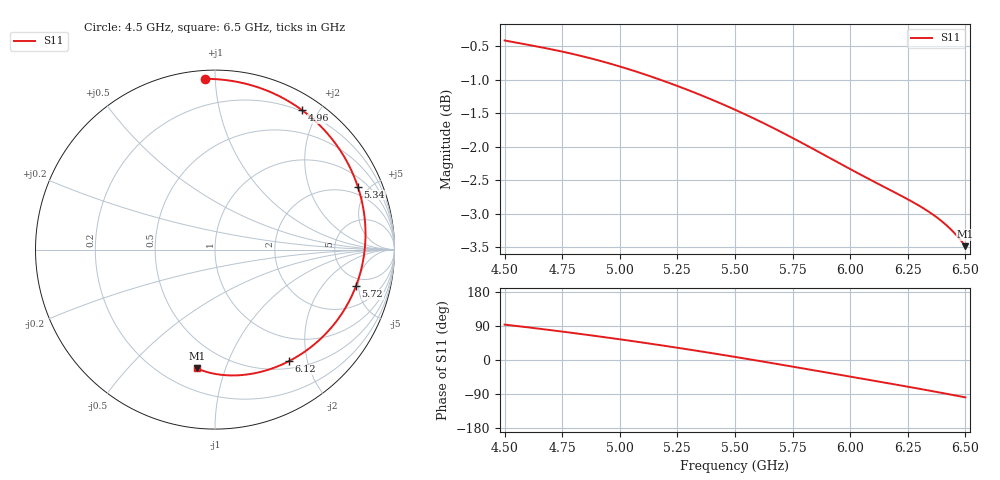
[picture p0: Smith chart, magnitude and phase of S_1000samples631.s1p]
! TOUCHSTONE file generated by CST MICROWAVE STUDIO
! Date and time: Fri Oct 28 20:14:28 2022
! Project name: L.cst
! Parameters = {Di=1.27; Epsilon_r=1.56; InnerDiameter=1.27; Length=2; Lf=10; Lg=60; OuterConductorThickness=0.2921; OuterDiameter=3.6; Wf=3; Wp=41.2; de=1.5; df=6.8; g=0.8; gx=2.08986; gy=4.22468; h=2.34; hf=1.524; px=9.5569; py=13.3925; w=9.7; wx=7.46704; wy=9.16781}
! Header version: 2018
! Port assignment regex: !\s*Touchstone port\s*([0-9]+)\s*=\s*(CST MWS port|CST DS port)\s*([0-9]+|Zmin|Zmax)\s*\(\"(.*)\"\)(\s*mode\s*([0-9]+))?.*
! Touchstone port assignment:
! Touchstone port 1 = CST MWS port 1 ("")
# GHz S DB R 50
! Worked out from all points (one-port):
!   101 points, 4.5 GHz to 6.5 GHz, reference 50 ohm
!   lowest |S11| = -3.5 dB at 6.5 GHz (marker M1), VSWR 5.06, Z = 16.7 - j40.1 ohm
!   |S11| at or under -10 dB: nowhere
!   S11 on the Smith chart (normalised r, x): 4.5 GHz: 0.05, +0.94; 4.96 GHz: 0.19, +1.79; 5.34 GHz: 1.48, +4.25; 5.72 GHz: 3.95, -4.66; 6.12 GHz: 0.60, -1.70; 6.5 GHz: 0.33, -0.80
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4.5  -0.42 93.4
4.64  -0.51 83.3
4.76  -0.59 74.2
4.86  -0.67 66.2
4.96  -0.76 58.0
5  -0.80 54.6
5.12  -0.94 44.1
5.2  -1.03 36.9
5.26  -1.11 31.4
5.34  -1.21 23.8
5.42  -1.33 16.1
5.5  -1.45 8.1
5.6  -1.61 -2.0
5.66  -1.71 -8.2
5.72  -1.81 -14.4
5.76  -1.89 -18.6
5.82  -2.00 -24.9
5.88  -2.11 -31.2
5.94  -2.22 -37.5
6  -2.33 -43.8
6.06  -2.44 -50.2
6.12  -2.55 -56.6
6.2  -2.69 -65.1
6.26  -2.80 -71.6
6.32  -2.92 -78.1
6.38  -3.06 -84.8
6.44  -3.24 -91.7
6.5  -3.48 -98.7
